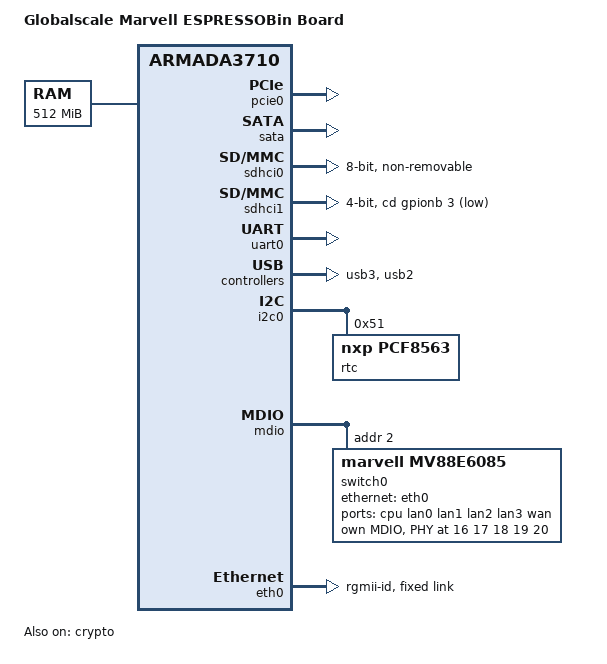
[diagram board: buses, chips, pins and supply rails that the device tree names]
/*
 * Device Tree file for Globalscale Marvell ESPRESSOBin Board
 * Copyright (C) 2016 Marvell
 *
 * Romain Perier <romain.perier@free-electrons.com>
 *
 * This file is dual-licensed: you can use it either under the terms
 * of the GPL or the X11 license, at your option. Note that this dual
 * licensing only applies to this file, and not this project as a
 * whole.
 *
 *  a) This file is free software; you can redistribute it and/or
 *     modify it under the terms of the GNU General Public License as
 *     published by the Free Software Foundation; either version 2 of the
 *     License, or (at your option) any later version.
 *
 *     This file is distributed in the hope that it will be useful,
 *     but WITHOUT ANY WARRANTY; without even the implied warranty of
 *     MERCHANTABILITY or FITNESS FOR A PARTICULAR PURPOSE.  See the
 *     GNU General Public License for more details.
 *
 * Or, alternatively,
 *
 *  b) Permission is hereby granted, free of charge, to any person
 *     obtaining a copy of this software and associated documentation
 *     files (the "Software"), to deal in the Software without
 *     restriction, including without limitation the rights to use,
 *     copy, modify, merge, publish, distribute, sublicense, and/or
 *     sell copies of the Software, and to permit persons to whom the
 *     Software is furnished to do so, subject to the following
 *     conditions:
 *
 *     The above copyright notice and this permission notice shall be
 *     included in all copies or substantial portions of the Software.
 *
 *     THE SOFTWARE IS PROVIDED "AS IS", WITHOUT WARRANTY OF ANY KIND,
 *     EXPRESS OR IMPLIED, INCLUDING BUT NOT LIMITED TO THE WARRANTIES
 *     OF MERCHANTABILITY, FITNESS FOR A PARTICULAR PURPOSE AND
 *     NONINFRINGEMENT. IN NO EVENT SHALL THE AUTHORS OR COPYRIGHT
 *     HOLDERS BE LIABLE FOR ANY CLAIM, DAMAGES OR OTHER LIABILITY,
 *     WHETHER IN AN ACTION OF CONTRACT, TORT OR OTHERWISE, ARISING
 *     FROM, OUT OF OR IN CONNECTION WITH THE SOFTWARE OR THE USE OR
 *     OTHER DEALINGS IN THE SOFTWARE.
 */

/dts-v1/;

#include <dt-bindings/gpio/gpio.h>
#include "armada-372x.dtsi"

/ {
	model = "Globalscale Marvell ESPRESSOBin Board";
	compatible = "globalscale,espressobin", "marvell,armada3720", "marvell,armada3710";

	chosen {
		stdout-path = "serial0:115200n8";
	};

	memory@0 {
		device_type = "memory";
		reg = <0x00000000 0x00000000 0x00000000 0x20000000>;
	};
};

&pcie0 {
	status = "okay";
};

&sata {
	status = "okay";
};

&sdhci0 {
	non-removable;
	bus-width = <8>;
	mmc-ddr-1_8v;
	mmc-hs400-1_8v;
	marvell,pad-type = "fixed-1-8v";
	status = "okay";
};

&sdhci1 {
	wp-inverted;
	bus-width = <4>;
	cd-gpios = <&gpionb 3 GPIO_ACTIVE_LOW>;
	marvell,pad-type = "sd";
	status = "okay";
};

&uart0 {
	status = "okay";
};

&usb3 {
	status = "okay";
};

&usb2 {
	status = "okay";
};

&i2c0 {
	pinctrl-names = "default";
	pinctrl-0 = <&i2c1_pins>;
	status = "okay";
	rtc@51  {
		compatible = "nxp,pcf8563";
		reg = <0x51>;
	};
};

&mdio {
	switch0: switch0@1 {
		compatible = "marvell,mv88e6085";
		#address-cells = <1>;
		#size-cells = <0>;
		reg = <2>;

		dsa,member = <0 0>;

		ports {
			#address-cells = <1>;
			#size-cells = <0>;

			port@6 {
				reg = <6>;
				label = "cpu";
				ethernet = <&eth0>;
			};

			port@0 {
				reg = <0>;
				label = "lan0";
				phy-handle = <&switch0phy0>;
			};

			port@1 {
				reg = <1>;
				label = "lan1";
				phy-handle = <&switch0phy1>;
			};

			port@2 {
				reg = <2>;
				label = "lan2";
				phy-handle = <&switch0phy2>;
			};

			port@3 {
				reg = <3>;
				label = "lan3";
				phy-handle = <&switch0phy3>;
			};

			port@4 {
				reg = <4>;
				label = "wan";
				phy-handle = <&switch0phy4>;
			};
		};

		mdio_bus {
			#address-cells = <1>;
			#size-cells = <0>;

			switch0phy0: switch0phy0@10 {
				reg = <0x10>;
			};
			switch0phy1: switch0phy1@11 {
				reg = <0x11>;
			};
			switch0phy2: switch0phy2@12 {
				reg = <0x12>;
			};
			switch0phy3: switch0phy1@13 {
				reg = <0x13>;
			};
			switch0phy4: switch0phy2@14 {
				reg = <0x14>;
			};
		};
	};
};

&crypto {
	status = "okay";
};

&eth0 {
	phy-mode = "rgmii-id";
	status = "okay";

	fixed-link {
		speed = <1000>;
		full-duplex;
	};
};
